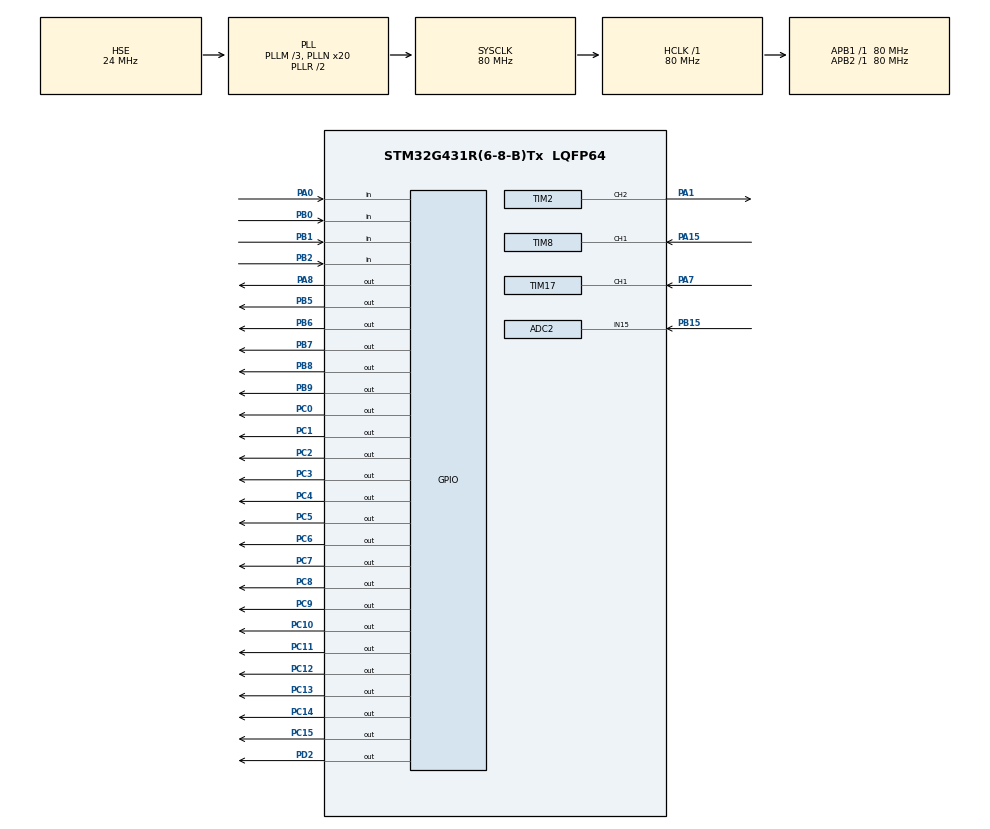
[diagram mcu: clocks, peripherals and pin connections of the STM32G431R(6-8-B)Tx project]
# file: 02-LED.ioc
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ADC2.Channel-0\#ChannelRegularConversion=ADC_CHANNEL_15
ADC2.EnableAnalogWatchDog1=false
ADC2.NbrOfConversion=1
ADC2.NbrOfConversionFlag=1
ADC2.OffsetNumber-0\#ChannelRegularConversion=ADC_OFFSET_NONE
ADC2.Rank-0\#ChannelRegularConversion=1
ADC2.SamplingTime-0\#ChannelRegularConversion=ADC_SAMPLETIME_2CYCLES_5
Mcu.Family=STM32G4
Mcu.Name=STM32G431R(6-8-B)Tx
Mcu.Package=LQFP64
NVIC.PriorityGroup=NVIC_PRIORITYGROUP_4
NVIC.TIM1_TRG_COM_TIM17_IRQn=true\:0\:0\:false\:false\:true\:true\:true\:true
NVIC.TIM1_UP_TIM16_IRQn=true\:0\:0\:false\:false\:true\:true\:true\:true
NVIC.TIM6_DAC_IRQn=true\:0\:0\:false\:false\:true\:true\:true\:true
NVIC.TIM8_CC_IRQn=true\:0\:0\:false\:false\:true\:true\:true\:true
PA0.Signal=GPIO_Input
PA1.Signal=S_TIM2_CH2
PA13.Mode=Serial_Wire
PA13.Signal=SYS_JTMS-SWDIO
PA14.Mode=Serial_Wire
PA14.Signal=SYS_JTCK-SWCLK
PA15.Signal=S_TIM8_CH1
PA7.Signal=S_TIM17_CH1
PA8.Signal=GPIO_Output
PB0.Signal=GPIO_Input
PB1.Signal=GPIO_Input
PB15.Mode=IN15-Single-Ended
PB15.Signal=ADC2_IN15
PB2.Signal=GPIO_Input
PB5.Signal=GPIO_Output
PB6.GPIO_ModeDefaultOutputPP=GPIO_MODE_OUTPUT_OD
PB6.GPIO_PuPd=GPIO_NOPULL
PB6.Signal=GPIO_Output
PB7.GPIO_ModeDefaultOutputPP=GPIO_MODE_OUTPUT_OD
PB7.GPIO_PuPd=GPIO_NOPULL
PB7.Signal=GPIO_Output
PB8-BOOT0.Signal=GPIO_Output
PB9.Signal=GPIO_Output
PC0.Signal=GPIO_Output
PC1.Signal=GPIO_Output
PC10.Signal=GPIO_Output
PC11.Signal=GPIO_Output
PC12.Signal=GPIO_Output
PC13.Signal=GPIO_Output
PC14-OSC32_IN.Signal=GPIO_Output
PC15-OSC32_OUT.PinState=GPIO_PIN_RESET
PC15-OSC32_OUT.Signal=GPIO_Output
PC2.Signal=GPIO_Output
PC3.Signal=GPIO_Output
PC4.Signal=GPIO_Output
PC5.Signal=GPIO_Output
PC6.Signal=GPIO_Output
PC7.Signal=GPIO_Output
PC8.Signal=GPIO_Output
PC9.Signal=GPIO_Output
PD2.PinState=GPIO_PIN_SET
PD2.Signal=GPIO_Output
PF0-OSC_IN.Mode=HSE-External-Oscillator
PF0-OSC_IN.Signal=RCC_OSC_IN
PF1-OSC_OUT.Mode=HSE-External-Oscillator
PF1-OSC_OUT.Signal=RCC_OSC_OUT
ProjectManager.HeapSize=0x200
ProjectManager.StackSize=0x400
ProjectManager.TargetToolchain=MDK-ARM V5.32
RCC.ADC12Freq_Value=80000000
RCC.AHBFreq_Value=80000000
RCC.APB1Freq_Value=80000000
RCC.APB1TimFreq_Value=80000000
RCC.APB2Freq_Value=80000000
RCC.APB2TimFreq_Value=80000000
RCC.CortexFreq_Value=80000000
RCC.EXTERNAL_CLOCK_VALUE=12288000
RCC.HCLKFreq_Value=80000000
RCC.HSE_VALUE=24000000
RCC.HSI48_VALUE=48000000
RCC.HSI_VALUE=16000000
RCC.LSE_VALUE=32768
RCC.PLLM=RCC_PLLM_DIV3
RCC.PLLN=20
RCC.PLLSourceVirtual=RCC_PLLSOURCE_HSE
RCC.SYSCLKFreq_VALUE=80000000
RCC.SYSCLKSource=RCC_SYSCLKSOURCE_PLLCLK
RCC.USBFreq_Value=80000000
RCC.VCOOutputFreq_Value=160000000
SH.S_TIM17_CH1.0=TIM17_CH1,Input_Capture1_from_TI1
SH.S_TIM2_CH2.0=TIM2_CH2,PWM Generation2 CH2
SH.S_TIM8_CH1.0=TIM8_CH1,Input_Capture1_from_TI1
TIM16.PeriodNoDither=10000-1
TIM16.Prescaler=800-1
TIM17.Channel=TIM_CHANNEL_1
TIM17.Prescaler=80-1
TIM2.AutoReloadPreload=TIM_AUTORELOAD_PRELOAD_ENABLE
TIM2.Channel-PWM\ Generation2\ CH2=TIM_CHANNEL_2
TIM2.PeriodNoDither=250-1
TIM2.Prescaler=80-1
TIM2.PulseNoDither_2=20
TIM6.PeriodNoDither=10000-1
TIM6.Prescaler=80-1
TIM8.Channel-Input_Capture1_from_TI1=TIM_CHANNEL_1
TIM8.Channel-Input_Capture2_from_TI1_63=TIM_CHANNEL_2
TIM8.ICPolarity_CH2=TIM_INPUTCHANNELPOLARITY_FALLING
TIM8.Prescaler=80-1
VP_SYS_VS_DBSignals.Mode=DisableDeadBatterySignals
VP_TIM16_VS_ClockSourceINT.Mode=Enable_Timer
VP_TIM17_VS_ClockSourceINT.Mode=Enable_Timer
VP_TIM6_VS_ClockSourceINT.Mode=Enable_Timer
VP_TIM8_VS_indirect_ch1.Mode=Input_Capture2_from_TI1_63
board=custom

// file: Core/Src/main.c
/* USER CODE BEGIN Header */
/**
 ******************************************************************************
 * @file           : main.c
 * @brief          : Main program body
 ******************************************************************************
 * @attention
 *
 * Copyright (c) 2024 STMicroelectronics.
 * All rights reserved.
 *
 * This software is licensed under terms that can be found in the LICENSE file
 * in the root directory of this software component.
 * If no LICENSE file comes with this software, it is provided AS-IS.
 *
 ******************************************************************************
 */
/* USER CODE END Header */
#include "main.h"
#include "adc.h"
#include "tim.h"
#include "gpio.h"

/* USER CODE BEGIN Includes */
#include "led/led.h"
#include "lcd/lcd.h"
#include "stdio.h"
#include "key/key.h"
#include "lcd/menu.h"
#include "i2c/i2c_hal.h"
/* USER CODE END Includes */

void SystemClock_Config(void);

int main(void)
{

  /* MCU Configuration--------------------------------------------------------*/

  /* Reset of all peripherals, Initializes the Flash interface and the Systick. */
  HAL_Init();

  /* Configure the system clock */
  SystemClock_Config();

  /* USER CODE BEGIN SysInit */
	KEY_Init();
  /* USER CODE END SysInit */

  /* Initialize all configured peripherals */
  MX_GPIO_Init();
  MX_TIM6_Init();
  MX_TIM17_Init();
  MX_TIM2_Init();
  MX_TIM8_Init();
  MX_ADC2_Init();
  MX_TIM16_Init();
  /* USER CODE BEGIN 2 */
  	HAL_TIM_Base_Start_IT(&htim6);
	LCD_Init();

	menu_init();
	HAL_TIM_PWM_Start(&htim2, TIM_CHANNEL_2);//使用TIM2作为PWM的产生器
	HAL_TIM_IC_Start_IT(&htim17, TIM_CHANNEL_1);//使用这一个进行捕获
	HAL_TIM_IC_Start_IT(&htim8, TIM_CHANNEL_1);//使用这一个进行捕获
	HAL_TIM_IC_Start_IT(&htim8, TIM_CHANNEL_2);//使用这一个进行捕获

  /* USER CODE END 2 */

  /* Infinite loop */
  /* USER CODE BEGIN WHILE */

  while (1)
  {

	menu_main();
//	led_Disp(0xf0);
//    HAL_Delay(1000);
//	led_Disp(0xf);
//	HAL_Delay(1000);
    /* USER CODE END WHILE */

  }
}

void SystemClock_Config(void)
{
  RCC_OscInitTypeDef RCC_OscInitStruct = {0};
  RCC_ClkInitTypeDef RCC_ClkInitStruct = {0};

  /** Configure the main internal regulator output voltage
  */
  HAL_PWREx_ControlVoltageScaling(PWR_REGULATOR_VOLTAGE_SCALE1);

  /** Initializes the RCC Oscillators according to the specified parameters
  * in the RCC_OscInitTypeDef structure.
  */
  RCC_OscInitStruct.OscillatorType = RCC_OSCILLATORTYPE_HSE;
  RCC_OscInitStruct.HSEState = RCC_HSE_ON;
  RCC_OscInitStruct.PLL.PLLState = RCC_PLL_ON;
  RCC_OscInitStruct.PLL.PLLSource = RCC_PLLSOURCE_HSE;
  RCC_OscInitStruct.PLL.PLLM = RCC_PLLM_DIV3;
  RCC_OscInitStruct.PLL.PLLN = 20;
  RCC_OscInitStruct.PLL.PLLP = RCC_PLLP_DIV2;
  RCC_OscInitStruct.PLL.PLLQ = RCC_PLLQ_DIV2;
  RCC_OscInitStruct.PLL.PLLR = RCC_PLLR_DIV2;
  if (HAL_RCC_OscConfig(&RCC_OscInitStruct) != HAL_OK)
  {
    Error_Handler();
  }

  /** Initializes the CPU, AHB and APB buses clocks
  */
  RCC_ClkInitStruct.ClockType = RCC_CLOCKTYPE_HCLK|RCC_CLOCKTYPE_SYSCLK
                              |RCC_CLOCKTYPE_PCLK1|RCC_CLOCKTYPE_PCLK2;
  RCC_ClkInitStruct.SYSCLKSource = RCC_SYSCLKSOURCE_PLLCLK;
  RCC_ClkInitStruct.AHBCLKDivider = RCC_SYSCLK_DIV1;
  RCC_ClkInitStruct.APB1CLKDivider = RCC_HCLK_DIV1;
  RCC_ClkInitStruct.APB2CLKDivider = RCC_HCLK_DIV1;

  if (HAL_RCC_ClockConfig(&RCC_ClkInitStruct, FLASH_LATENCY_2) != HAL_OK)
  {
    Error_Handler();
  }
}

void Error_Handler(void)
{
  __disable_irq();
  while (1)
  {
  }
}
